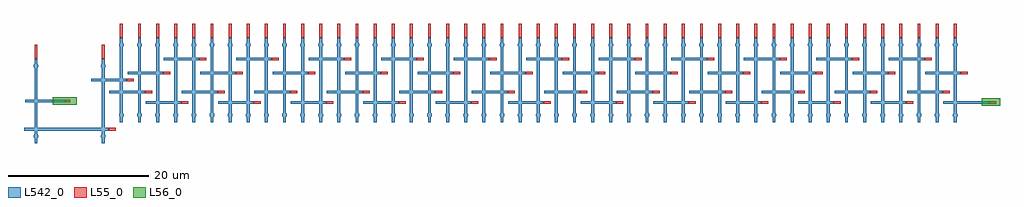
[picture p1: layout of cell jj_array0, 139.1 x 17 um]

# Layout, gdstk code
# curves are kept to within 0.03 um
import gdstk
lib = gdstk.Library(unit=1e-6, precision=1e-09)
def R(c, l, rs):  # rectangles x0, y0, x1, y1
    for r in rs: c.add(gdstk.rectangle(r[:2], r[2:], *l))
def A(c, l, x, y, w, h, nx, ny, dx, dy):  # array of equal rectangles
    R(c, l, [(x+i*dx, y+j*dy, x+i*dx+w, y+j*dy+h) for i in range(nx) for j in range(ny)])
def P(c, l, *ps):  # polygons
    for p in ps: c.add(gdstk.Polygon(p, *l))
L55_0 = (55, 0)
L56_0 = (56, 0)
L542_0 = (542, 0)

jj_array0 = lib.new_cell('jj_array0')
A(jj_array0, L55_0, -49.382, -3.41, 1, 0.41, 3, 1, 10.335, 0)
A(jj_array0, L55_0, -18.378, -3.41, 1, 0.41, 4, 1, 10.335, 0)
A(jj_array0, L55_0, 22.961, -3.41, 1, 0.41, 3, 1, 10.335, 0)
A(jj_array0, L55_0, -33.88, -1.91, 1, 0.41, 3, 1, 10.335, 0)
A(jj_array0, L55_0, -2.876, -1.91, 1, 0.41, 4, 1, 10.335, 0)
A(jj_array0, L55_0, 38.463, -1.91, 1, 0.41, 3, 1, 10.335, 0)
A(jj_array0, L55_0, -41.631, 0.795, 1, 0.41, 3, 1, 10.335, 0)
A(jj_array0, L55_0, -10.627, 0.795, 1, 0.41, 4, 1, 10.335, 0)
A(jj_array0, L55_0, 30.712, 0.795, 1, 0.41, 3, 1, 10.335, 0)
A(jj_array0, L55_0, -26.129, 2.795, 1, 0.41, 4, 1, 10.335, 0)
A(jj_array0, L55_0, 15.21, 2.795, 1, 0.41, 3, 1, 10.335, 0)
A(jj_array0, L55_0, -58.133, 6, 0.41, 2, 3, 1, 2.584, 0)
A(jj_array0, L55_0, -50.382, 6, 0.41, 2, 3, 1, 2.584, 0)
A(jj_array0, L55_0, -42.631, 6, 0.41, 2, 3, 1, 2.584, 0)
A(jj_array0, L55_0, -34.88, 6, 0.41, 2, 3, 1, 2.584, 0)
A(jj_array0, L55_0, -27.129, 6, 0.41, 2, 3, 1, 2.584, 0)
A(jj_array0, L55_0, -19.378, 6, 0.41, 2, 3, 1, 2.584, 0)
A(jj_array0, L55_0, -11.627, 6, 0.41, 2, 3, 1, 2.584, 0)
A(jj_array0, L55_0, -3.876, 6, 0.41, 2, 4, 1, 2.584, 0)
A(jj_array0, L55_0, 6.459, 6, 0.41, 2, 3, 1, 2.584, 0)
A(jj_array0, L55_0, 14.21, 6, 0.41, 2, 3, 1, 2.584, 0)
A(jj_array0, L55_0, 21.961, 6, 0.41, 2, 3, 1, 2.584, 0)
A(jj_array0, L55_0, 29.712, 6, 0.41, 2, 3, 1, 2.584, 0)
A(jj_array0, L55_0, 37.463, 6, 0.41, 2, 3, 1, 2.584, 0)
A(jj_array0, L55_0, 45.214, 6, 0.41, 2, 3, 1, 2.584, 0)
A(jj_array0, L55_0, 52.965, 6, 0.41, 2, 3, 1, 2.584, 0)
R(jj_array0, L55_0, [(-59.716,-7.21,-58.716,-6.8), (53.965,-3.41,54.965,-3), (65.8,-3.41,66.8,-3), (-65.89,-3.205,-65.19,-2.795), (-54.549,-1.91,-53.549,-1.5), (-44.214,-1.91,-43.214,-1.5), (-57.133,-0.205,-56.133,0.205), (-51.965,0.795,-50.965,1.205), (61.716,0.795,62.716,1.205), (-46.798,2.795,-45.798,3.205), (-36.463,2.795,-35.463,3.205), (46.214,2.795,47.214,3.205), (56.549,2.795,57.549,3.205), (-70.3,3,-69.89,5), (-60.716,3,-60.306,5), (60.716,6,61.126,8)])
R(jj_array0, L56_0, [(64.7,-3.7,67.3,-2.6), (-67.7,-3.55,-64.3,-2.45)])
A(jj_array0, L542_0, -13.127, -3.41, 5.084, 0.41, 3, 1, 10.335, 0)
A(jj_array0, L542_0, -5.376, 0.795, 5.084, 0.41, 3, 1, 10.335, 0)
A(jj_array0, L542_0, -20.878, 2.795, 5.084, 0.41, 3, 1, 10.335, 0)
R(jj_array0, L542_0, [(-71.8,-7.21,-59.716,-6.8), (-54.465,-3.41,-49.382,-3), (-44.131,-3.41,-39.047,-3), (-33.796,-3.41,-28.712,-3), (-23.461,-3.41,-18.378,-3), (17.878,-3.41,22.961,-3), (28.212,-3.41,33.296,-3), (38.547,-3.41,43.631,-3), (48.882,-3.41,53.965,-3), (59.216,-3.41,65.8,-3), (-71.6,-3.205,-65.89,-2.795), (-59.633,-1.91,-54.549,-1.5), (-49.298,-1.91,-44.214,-1.5), (-38.963,-1.91,-33.88,-1.5), (-28.629,-1.91,-23.545,-1.5), (-18.294,-1.91,-13.21,-1.5), (-7.959,-1.91,-2.876,-1.5), (2.376,-1.91,7.459,-1.5), (12.71,-1.91,17.794,-1.5), (23.045,-1.91,28.129,-1.5), (33.38,-1.91,38.463,-1.5), (43.714,-1.91,48.798,-1.5), (54.049,-1.91,59.133,-1.5), (-62.216,-0.205,-57.133,0.205), (-57.049,0.795,-51.965,1.205), (-46.714,0.795,-41.631,1.205), (-36.38,0.795,-31.296,1.205), (-26.045,0.795,-20.961,1.205), (-15.71,0.795,-10.627,1.205), (25.629,0.795,30.712,1.205), (35.963,0.795,41.047,1.205), (46.298,0.795,51.382,1.205), (56.633,0.795,61.716,1.205), (-51.882,2.795,-46.798,3.205), (-41.547,2.795,-36.463,3.205), (-31.212,2.795,-26.129,3.205), (10.127,2.795,15.21,3.205), (20.461,2.795,25.545,3.205), (30.796,2.795,35.88,3.205), (41.131,2.795,46.214,3.205), (51.465,2.795,56.549,3.205)])
P(jj_array0, L542_0, [(-69.89,-8.256),(-69.792,-8.126),(-69.767,-8),(-69.792,-7.874),(-69.89,-7.744),(-69.89,1.744),(-69.792,1.874),(-69.767,2),(-69.792,2.126),(-69.89,2.256),(-69.89,3),(-70.3,3),(-70.3,2.256),(-70.398,2.126),(-70.423,2),(-70.398,1.874),(-70.3,1.744),(-70.3,-7.744),(-70.398,-7.874),(-70.423,-8),(-70.398,-8.126),(-70.3,-8.256),(-70.3,-9),(-69.89,-9)],
  [(-60.306,-8.256),(-60.208,-8.126),(-60.183,-8),(-60.208,-7.874),(-60.306,-7.744),(-60.306,1.744),(-60.208,1.874),(-60.183,2),(-60.208,2.126),(-60.306,2.256),(-60.306,3),(-60.716,3),(-60.716,2.256),(-60.801,2.155),(-60.839,2),(-60.801,1.845),(-60.716,1.744),(-60.716,-7.744),(-60.814,-7.874),(-60.838,-8.032),(-60.716,-8.256),(-60.716,-9),(-60.306,-9)],
  [(-57.723,-5.256),(-57.638,-5.155),(-57.6,-5),(-57.638,-4.845),(-57.723,-4.744),(-57.723,4.744),(-57.625,4.874),(-57.601,5.032),(-57.723,5.256),(-57.723,6),(-58.133,6),(-58.133,5.256),(-58.231,5.126),(-58.256,5),(-58.231,4.874),(-58.133,4.744),(-58.133,-4.744),(-58.231,-4.874),(-58.256,-5),(-58.231,-5.126),(-58.133,-5.256),(-58.133,-6),(-57.723,-6)],
  [(-55.139,-5.256),(-55.041,-5.126),(-55.016,-5),(-55.041,-4.874),(-55.139,-4.744),(-55.139,4.744),(-55.041,4.874),(-55.016,5),(-55.041,5.126),(-55.139,5.256),(-55.139,6),(-55.549,6),(-55.549,5.256),(-55.647,5.126),(-55.672,5),(-55.647,4.874),(-55.549,4.744),(-55.549,-4.744),(-55.647,-4.874),(-55.672,-5),(-55.647,-5.126),(-55.549,-5.256),(-55.549,-6),(-55.139,-6)],
  [(-52.555,-5.256),(-52.457,-5.126),(-52.432,-5),(-52.457,-4.874),(-52.555,-4.744),(-52.555,4.744),(-52.457,4.874),(-52.432,5),(-52.457,5.126),(-52.555,5.256),(-52.555,6),(-52.965,6),(-52.965,5.256),(-53.05,5.155),(-53.088,5),(-53.05,4.845),(-52.965,4.744),(-52.965,-4.744),(-53.063,-4.874),(-53.087,-5.032),(-52.965,-5.256),(-52.965,-6),(-52.555,-6)],
  [(-49.972,-5.256),(-49.887,-5.155),(-49.849,-5),(-49.887,-4.845),(-49.972,-4.744),(-49.972,4.744),(-49.874,4.874),(-49.85,5.032),(-49.972,5.256),(-49.972,6),(-50.382,6),(-50.382,5.256),(-50.48,5.126),(-50.505,5),(-50.48,4.874),(-50.382,4.744),(-50.382,-4.744),(-50.48,-4.874),(-50.505,-5),(-50.48,-5.126),(-50.382,-5.256),(-50.382,-6),(-49.972,-6)],
  [(-47.388,-5.256),(-47.29,-5.126),(-47.265,-5),(-47.29,-4.874),(-47.388,-4.744),(-47.388,4.744),(-47.29,4.874),(-47.265,5),(-47.29,5.126),(-47.388,5.256),(-47.388,6),(-47.798,6),(-47.798,5.256),(-47.896,5.126),(-47.921,5),(-47.896,4.874),(-47.798,4.744),(-47.798,-4.744),(-47.896,-4.874),(-47.921,-5),(-47.896,-5.126),(-47.798,-5.256),(-47.798,-6),(-47.388,-6)],
  [(-44.804,-5.256),(-44.706,-5.126),(-44.681,-5),(-44.706,-4.874),(-44.804,-4.744),(-44.804,4.744),(-44.706,4.874),(-44.681,5),(-44.706,5.126),(-44.804,5.256),(-44.804,6),(-45.214,6),(-45.214,5.256),(-45.299,5.155),(-45.337,5),(-45.299,4.845),(-45.214,4.744),(-45.214,-4.744),(-45.312,-4.874),(-45.336,-5.032),(-45.214,-5.256),(-45.214,-6),(-44.804,-6)],
  [(-42.221,-5.256),(-42.136,-5.155),(-42.098,-5),(-42.136,-4.845),(-42.221,-4.744),(-42.221,4.744),(-42.123,4.874),(-42.099,5.032),(-42.221,5.256),(-42.221,6),(-42.631,6),(-42.631,5.256),(-42.729,5.126),(-42.754,5),(-42.729,4.874),(-42.631,4.744),(-42.631,-4.744),(-42.729,-4.874),(-42.754,-5),(-42.729,-5.126),(-42.631,-5.256),(-42.631,-6),(-42.221,-6)],
  [(-39.637,-5.256),(-39.539,-5.126),(-39.514,-5),(-39.539,-4.874),(-39.637,-4.744),(-39.637,4.744),(-39.539,4.874),(-39.514,5),(-39.539,5.126),(-39.637,5.256),(-39.637,6),(-40.047,6),(-40.047,5.256),(-40.145,5.126),(-40.17,5),(-40.145,4.874),(-40.047,4.744),(-40.047,-4.744),(-40.145,-4.874),(-40.17,-5),(-40.145,-5.126),(-40.047,-5.256),(-40.047,-6),(-39.637,-6)],
  [(-37.053,-5.256),(-36.955,-5.126),(-36.93,-5),(-36.955,-4.874),(-37.053,-4.744),(-37.053,4.744),(-36.955,4.874),(-36.93,5),(-36.955,5.126),(-37.053,5.256),(-37.053,6),(-37.463,6),(-37.463,5.256),(-37.548,5.155),(-37.586,5),(-37.548,4.845),(-37.463,4.744),(-37.463,-4.744),(-37.561,-4.874),(-37.585,-5.032),(-37.463,-5.256),(-37.463,-6),(-37.053,-6)],
  [(-34.47,-5.256),(-34.385,-5.155),(-34.347,-5),(-34.385,-4.845),(-34.47,-4.744),(-34.47,4.744),(-34.372,4.874),(-34.348,5.032),(-34.47,5.256),(-34.47,6),(-34.88,6),(-34.88,5.256),(-34.978,5.126),(-35.003,5),(-34.978,4.874),(-34.88,4.744),(-34.88,-4.744),(-34.978,-4.874),(-35.003,-5),(-34.978,-5.126),(-34.88,-5.256),(-34.88,-6),(-34.47,-6)],
  [(-31.886,-5.256),(-31.788,-5.126),(-31.763,-5),(-31.788,-4.874),(-31.886,-4.744),(-31.886,4.744),(-31.788,4.874),(-31.764,5.032),(-31.886,5.256),(-31.886,6),(-32.296,6),(-32.296,5.256),(-32.394,5.126),(-32.419,5),(-32.394,4.874),(-32.296,4.744),(-32.296,-4.744),(-32.394,-4.874),(-32.419,-5),(-32.394,-5.126),(-32.296,-5.256),(-32.296,-6),(-31.886,-6)],
  [(-29.302,-5.256),(-29.204,-5.126),(-29.179,-5),(-29.204,-4.874),(-29.302,-4.744),(-29.302,4.744),(-29.204,4.874),(-29.179,5),(-29.204,5.126),(-29.302,5.256),(-29.302,6),(-29.712,6),(-29.712,5.256),(-29.797,5.155),(-29.835,5),(-29.797,4.845),(-29.712,4.744),(-29.712,-4.744),(-29.81,-4.874),(-29.834,-5.032),(-29.712,-5.256),(-29.712,-6),(-29.302,-6)],
  [(-26.719,-5.257),(-26.634,-5.155),(-26.596,-5),(-26.634,-4.845),(-26.719,-4.743),(-26.719,4.743),(-26.621,4.874),(-26.597,5.032),(-26.719,5.257),(-26.719,6),(-27.129,6),(-27.129,5.256),(-27.227,5.126),(-27.252,5),(-27.227,4.874),(-27.129,4.744),(-27.129,-4.744),(-27.227,-4.874),(-27.252,-5),(-27.227,-5.126),(-27.129,-5.256),(-27.129,-6),(-26.719,-6)],
  [(-24.135,-5.256),(-24.037,-5.126),(-24.012,-5),(-24.037,-4.874),(-24.135,-4.744),(-24.135,4.744),(-24.037,4.874),(-24.013,5.032),(-24.135,5.256),(-24.135,6),(-24.545,6),(-24.545,5.256),(-24.643,5.126),(-24.668,5),(-24.643,4.874),(-24.545,4.744),(-24.545,-4.744),(-24.643,-4.874),(-24.668,-5),(-24.643,-5.126),(-24.545,-5.256),(-24.545,-6),(-24.135,-6)],
  [(-21.551,-5.256),(-21.453,-5.126),(-21.428,-5),(-21.453,-4.874),(-21.551,-4.744),(-21.551,4.744),(-21.453,4.874),(-21.428,5),(-21.453,5.126),(-21.551,5.256),(-21.551,6),(-21.961,6),(-21.961,5.256),(-22.059,5.126),(-22.084,5),(-22.059,4.874),(-21.961,4.744),(-21.961,-4.744),(-22.059,-4.874),(-22.083,-5.032),(-21.961,-5.256),(-21.961,-6),(-21.551,-6)],
  [(-18.968,-5.257),(-18.883,-5.155),(-18.845,-5),(-18.883,-4.845),(-18.968,-4.743),(-18.968,4.743),(-18.87,4.874),(-18.846,5.032),(-18.968,5.257),(-18.968,6),(-19.378,6),(-19.378,5.256),(-19.476,5.126),(-19.501,5),(-19.476,4.874),(-19.378,4.744),(-19.378,-4.744),(-19.476,-4.874),(-19.501,-5),(-19.476,-5.126),(-19.378,-5.256),(-19.378,-6),(-18.968,-6)],
  [(-16.384,-5.256),(-16.286,-5.126),(-16.261,-5),(-16.286,-4.874),(-16.384,-4.744),(-16.384,4.744),(-16.286,4.874),(-16.262,5.032),(-16.384,5.256),(-16.384,6),(-16.794,6),(-16.794,5.256),(-16.892,5.126),(-16.917,5),(-16.892,4.874),(-16.794,4.744),(-16.794,-4.744),(-16.892,-4.874),(-16.917,-5),(-16.892,-5.126),(-16.794,-5.256),(-16.794,-6),(-16.384,-6)],
  [(-13.8,-5.256),(-13.702,-5.126),(-13.677,-5),(-13.702,-4.874),(-13.8,-4.744),(-13.8,4.744),(-13.702,4.874),(-13.677,5),(-13.702,5.126),(-13.8,5.256),(-13.8,6),(-14.21,6),(-14.21,5.256),(-14.308,5.126),(-14.333,5),(-14.308,4.874),(-14.21,4.744),(-14.21,-4.744),(-14.308,-4.874),(-14.332,-5.032),(-14.21,-5.256),(-14.21,-6),(-13.8,-6)],
  [(-11.217,-5.257),(-11.118,-5.126),(-11.094,-5),(-11.118,-4.874),(-11.217,-4.743),(-11.217,4.743),(-11.118,4.874),(-11.095,5.032),(-11.217,5.257),(-11.217,6),(-11.627,6),(-11.627,5.256),(-11.725,5.126),(-11.75,5),(-11.725,4.874),(-11.627,4.744),(-11.627,-4.744),(-11.725,-4.874),(-11.75,-5),(-11.725,-5.126),(-11.627,-5.256),(-11.627,-6),(-11.217,-6)],
  [(-8.633,-5.256),(-8.535,-5.126),(-8.51,-5),(-8.535,-4.874),(-8.633,-4.744),(-8.633,4.744),(-8.535,4.874),(-8.511,5.032),(-8.633,5.256),(-8.633,6),(-9.043,6),(-9.043,5.256),(-9.141,5.126),(-9.166,5),(-9.141,4.874),(-9.043,4.744),(-9.043,-4.744),(-9.141,-4.874),(-9.166,-5),(-9.141,-5.126),(-9.043,-5.256),(-9.043,-6),(-8.633,-6)],
  [(-6.049,-5.256),(-5.951,-5.126),(-5.926,-5),(-5.951,-4.874),(-6.049,-4.744),(-6.049,4.744),(-5.951,4.874),(-5.926,5),(-5.951,5.126),(-6.049,5.256),(-6.049,6),(-6.459,6),(-6.459,5.256),(-6.557,5.126),(-6.582,5),(-6.557,4.874),(-6.459,4.744),(-6.459,-4.744),(-6.557,-4.874),(-6.581,-5.032),(-6.459,-5.256),(-6.459,-6),(-6.049,-6)],
  [(-3.466,-5.257),(-3.367,-5.126),(-3.343,-5),(-3.367,-4.874),(-3.466,-4.743),(-3.466,4.743),(-3.367,4.874),(-3.344,5.032),(-3.466,5.257),(-3.466,6),(-3.876,6),(-3.876,5.256),(-3.974,5.126),(-3.999,5),(-3.974,4.874),(-3.876,4.744),(-3.876,-4.744),(-3.974,-4.874),(-3.999,-5),(-3.974,-5.126),(-3.876,-5.256),(-3.876,-6),(-3.466,-6)],
  [(-0.882,-5.256),(-0.784,-5.126),(-0.759,-5),(-0.784,-4.874),(-0.882,-4.744),(-0.882,4.744),(-0.784,4.874),(-0.76,5.032),(-0.882,5.256),(-0.882,6),(-1.292,6),(-1.292,5.256),(-1.39,5.126),(-1.415,5),(-1.39,4.874),(-1.292,4.744),(-1.292,-4.744),(-1.39,-4.874),(-1.415,-5),(-1.39,-5.126),(-1.292,-5.256),(-1.292,-6),(-0.882,-6)],
  [(1.702,-5.256),(1.8,-5.126),(1.825,-5),(1.8,-4.874),(1.702,-4.744),(1.702,4.744),(1.8,4.874),(1.825,5),(1.8,5.126),(1.702,5.256),(1.702,6),(1.292,6),(1.292,5.256),(1.194,5.126),(1.169,5),(1.194,4.874),(1.292,4.744),(1.292,-4.744),(1.194,-4.874),(1.17,-5.032),(1.292,-5.256),(1.292,-6),(1.702,-6)],
  [(4.286,-5.256),(4.384,-5.126),(4.409,-5),(4.384,-4.874),(4.286,-4.744),(4.286,4.744),(4.384,4.874),(4.409,5),(4.384,5.126),(4.286,5.256),(4.286,6),(3.876,6),(3.876,5.257),(3.777,5.126),(3.753,5),(3.777,4.874),(3.876,4.743),(3.876,-4.743),(3.777,-4.874),(3.754,-5.032),(3.876,-5.257),(3.876,-6),(4.286,-6)],
  [(6.869,-5.256),(6.967,-5.126),(6.992,-5),(6.967,-4.874),(6.869,-4.744),(6.869,4.744),(6.967,4.874),(6.991,5.032),(6.869,5.256),(6.869,6),(6.459,6),(6.459,5.256),(6.361,5.126),(6.336,5),(6.361,4.874),(6.459,4.744),(6.459,-4.744),(6.361,-4.874),(6.336,-5),(6.361,-5.126),(6.459,-5.256),(6.459,-6),(6.869,-6)],
  [(9.453,-5.256),(9.551,-5.126),(9.576,-5),(9.551,-4.874),(9.453,-4.744),(9.453,4.744),(9.551,4.874),(9.576,5),(9.551,5.126),(9.453,5.256),(9.453,6),(9.043,6),(9.043,5.256),(8.945,5.126),(8.92,5),(8.945,4.874),(9.043,4.744),(9.043,-4.744),(8.945,-4.874),(8.921,-5.032),(9.043,-5.256),(9.043,-6),(9.453,-6)],
  [(12.037,-5.256),(12.135,-5.126),(12.16,-5),(12.135,-4.874),(12.037,-4.744),(12.037,4.744),(12.135,4.874),(12.16,5),(12.135,5.126),(12.037,5.256),(12.037,6),(11.627,6),(11.627,5.257),(11.528,5.126),(11.504,5),(11.528,4.874),(11.627,4.743),(11.627,-4.743),(11.528,-4.874),(11.505,-5.032),(11.627,-5.257),(11.627,-6),(12.037,-6)],
  [(14.62,-5.256),(14.718,-5.126),(14.743,-5),(14.718,-4.874),(14.62,-4.744),(14.62,4.744),(14.718,4.874),(14.742,5.032),(14.62,5.256),(14.62,6),(14.21,6),(14.21,5.256),(14.112,5.126),(14.087,5),(14.112,4.874),(14.21,4.744),(14.21,-4.744),(14.112,-4.874),(14.087,-5),(14.112,-5.126),(14.21,-5.256),(14.21,-6),(14.62,-6)],
  [(17.204,-5.256),(17.302,-5.126),(17.327,-5),(17.302,-4.874),(17.204,-4.744),(17.204,4.744),(17.302,4.874),(17.327,5),(17.302,5.126),(17.204,5.256),(17.204,6),(16.794,6),(16.794,5.256),(16.696,5.126),(16.671,5),(16.696,4.874),(16.794,4.744),(16.794,-4.744),(16.696,-4.874),(16.672,-5.032),(16.794,-5.256),(16.794,-6),(17.204,-6)],
  [(19.788,-5.256),(19.886,-5.126),(19.911,-5),(19.886,-4.874),(19.788,-4.744),(19.788,4.744),(19.886,4.874),(19.911,5),(19.886,5.126),(19.788,5.256),(19.788,6),(19.378,6),(19.378,5.257),(19.293,5.155),(19.255,5),(19.293,4.845),(19.378,4.743),(19.378,-4.743),(19.28,-4.874),(19.256,-5.032),(19.378,-5.257),(19.378,-6),(19.788,-6)],
  [(22.371,-5.256),(22.469,-5.126),(22.494,-5),(22.469,-4.874),(22.371,-4.744),(22.371,4.744),(22.469,4.874),(22.493,5.032),(22.371,5.256),(22.371,6),(21.961,6),(21.961,5.256),(21.863,5.126),(21.838,5),(21.863,4.874),(21.961,4.744),(21.961,-4.744),(21.863,-4.874),(21.838,-5),(21.863,-5.126),(21.961,-5.256),(21.961,-6),(22.371,-6)],
  [(24.955,-5.256),(25.053,-5.126),(25.078,-5),(25.053,-4.874),(24.955,-4.744),(24.955,4.744),(25.053,4.874),(25.078,5),(25.053,5.126),(24.955,5.256),(24.955,6),(24.545,6),(24.545,5.256),(24.447,5.126),(24.422,5),(24.447,4.874),(24.545,4.744),(24.545,-4.744),(24.447,-4.874),(24.423,-5.032),(24.545,-5.256),(24.545,-6),(24.955,-6)],
  [(27.539,-5.256),(27.637,-5.126),(27.662,-5),(27.637,-4.874),(27.539,-4.744),(27.539,4.744),(27.637,4.874),(27.662,5),(27.637,5.126),(27.539,5.256),(27.539,6),(27.129,6),(27.129,5.257),(27.044,5.155),(27.006,5),(27.044,4.845),(27.129,4.743),(27.129,-4.743),(27.031,-4.874),(27.007,-5.032),(27.129,-5.257),(27.129,-6),(27.539,-6)],
  [(30.122,-5.256),(30.207,-5.155),(30.245,-5),(30.207,-4.845),(30.122,-4.744),(30.122,4.744),(30.22,4.874),(30.244,5.032),(30.122,5.256),(30.122,6),(29.712,6),(29.712,5.256),(29.614,5.126),(29.589,5),(29.614,4.874),(29.712,4.744),(29.712,-4.744),(29.614,-4.874),(29.589,-5),(29.614,-5.126),(29.712,-5.256),(29.712,-6),(30.122,-6)],
  [(32.706,-5.256),(32.804,-5.126),(32.829,-5),(32.804,-4.874),(32.706,-4.744),(32.706,4.744),(32.804,4.874),(32.829,5),(32.804,5.126),(32.706,5.256),(32.706,6),(32.296,6),(32.296,5.256),(32.198,5.126),(32.173,5),(32.198,4.874),(32.296,4.744),(32.296,-4.744),(32.198,-4.874),(32.174,-5.032),(32.296,-5.256),(32.296,-6),(32.706,-6)],
  [(35.29,-5.256),(35.388,-5.126),(35.413,-5),(35.388,-4.874),(35.29,-4.744),(35.29,4.744),(35.388,4.874),(35.413,5),(35.388,5.126),(35.29,5.256),(35.29,6),(34.88,6),(34.88,5.256),(34.795,5.155),(34.757,5),(34.795,4.845),(34.88,4.744),(34.88,-4.744),(34.782,-4.874),(34.758,-5.032),(34.88,-5.256),(34.88,-6),(35.29,-6)],
  [(37.873,-5.256),(37.958,-5.155),(37.996,-5),(37.958,-4.845),(37.873,-4.744),(37.873,4.744),(37.971,4.874),(37.995,5.032),(37.873,5.256),(37.873,6),(37.463,6),(37.463,5.256),(37.365,5.126),(37.34,5),(37.365,4.874),(37.463,4.744),(37.463,-4.744),(37.365,-4.874),(37.34,-5),(37.365,-5.126),(37.463,-5.256),(37.463,-6),(37.873,-6)],
  [(40.457,-5.256),(40.555,-5.126),(40.58,-5),(40.555,-4.874),(40.457,-4.744),(40.457,4.744),(40.555,4.874),(40.58,5),(40.555,5.126),(40.457,5.256),(40.457,6),(40.047,6),(40.047,5.256),(39.949,5.126),(39.924,5),(39.949,4.874),(40.047,4.744),(40.047,-4.744),(39.949,-4.874),(39.924,-5),(39.949,-5.126),(40.047,-5.256),(40.047,-6),(40.457,-6)],
  [(43.041,-5.256),(43.139,-5.126),(43.164,-5),(43.139,-4.874),(43.041,-4.744),(43.041,4.744),(43.139,4.874),(43.164,5),(43.139,5.126),(43.041,5.256),(43.041,6),(42.631,6),(42.631,5.256),(42.546,5.155),(42.508,5),(42.546,4.845),(42.631,4.744),(42.631,-4.744),(42.533,-4.874),(42.509,-5.032),(42.631,-5.256),(42.631,-6),(43.041,-6)],
  [(45.624,-5.256),(45.709,-5.155),(45.747,-5),(45.709,-4.845),(45.624,-4.744),(45.624,4.744),(45.722,4.874),(45.746,5.032),(45.624,5.256),(45.624,6),(45.214,6),(45.214,5.256),(45.116,5.126),(45.091,5),(45.116,4.874),(45.214,4.744),(45.214,-4.744),(45.116,-4.874),(45.091,-5),(45.116,-5.126),(45.214,-5.256),(45.214,-6),(45.624,-6)],
  [(48.208,-5.256),(48.306,-5.126),(48.331,-5),(48.306,-4.874),(48.208,-4.744),(48.208,4.744),(48.306,4.874),(48.331,5),(48.306,5.126),(48.208,5.256),(48.208,6),(47.798,6),(47.798,5.256),(47.7,5.126),(47.675,5),(47.7,4.874),(47.798,4.744),(47.798,-4.744),(47.7,-4.874),(47.675,-5),(47.7,-5.126),(47.798,-5.256),(47.798,-6),(48.208,-6)],
  [(50.792,-5.256),(50.89,-5.126),(50.915,-5),(50.89,-4.874),(50.792,-4.744),(50.792,4.744),(50.89,4.874),(50.915,5),(50.89,5.126),(50.792,5.256),(50.792,6),(50.382,6),(50.382,5.256),(50.297,5.155),(50.259,5),(50.297,4.845),(50.382,4.744),(50.382,-4.744),(50.284,-4.874),(50.26,-5.032),(50.382,-5.256),(50.382,-6),(50.792,-6)],
  [(53.375,-5.256),(53.46,-5.155),(53.498,-5),(53.46,-4.845),(53.375,-4.744),(53.375,4.744),(53.473,4.874),(53.497,5.032),(53.375,5.256),(53.375,6),(52.965,6),(52.965,5.256),(52.867,5.126),(52.842,5),(52.867,4.874),(52.965,4.744),(52.965,-4.744),(52.867,-4.874),(52.842,-5),(52.867,-5.126),(52.965,-5.256),(52.965,-6),(53.375,-6)],
  [(55.959,-5.256),(56.057,-5.126),(56.082,-5),(56.057,-4.874),(55.959,-4.744),(55.959,4.744),(56.057,4.874),(56.082,5),(56.057,5.126),(55.959,5.256),(55.959,6),(55.549,6),(55.549,5.256),(55.451,5.126),(55.426,5),(55.451,4.874),(55.549,4.744),(55.549,-4.744),(55.451,-4.874),(55.426,-5),(55.451,-5.126),(55.549,-5.256),(55.549,-6),(55.959,-6)],
  [(58.543,-5.256),(58.641,-5.126),(58.666,-5),(58.641,-4.874),(58.543,-4.744),(58.543,4.744),(58.641,4.874),(58.666,5),(58.641,5.126),(58.543,5.256),(58.543,6),(58.133,6),(58.133,5.256),(58.048,5.155),(58.01,5),(58.048,4.845),(58.133,4.744),(58.133,-4.744),(58.035,-4.874),(58.011,-5.032),(58.133,-5.256),(58.133,-6),(58.543,-6)],
  [(61.126,-5.256),(61.211,-5.155),(61.249,-5),(61.211,-4.845),(61.126,-4.744),(61.126,4.744),(61.224,4.874),(61.248,5.032),(61.126,5.256),(61.126,6),(60.716,6),(60.716,5.256),(60.618,5.126),(60.593,5),(60.618,4.874),(60.716,4.744),(60.716,-4.744),(60.618,-4.874),(60.593,-5),(60.618,-5.126),(60.716,-5.256),(60.716,-6),(61.126,-6)])

lib.write_gds('jj_array0.gds')
